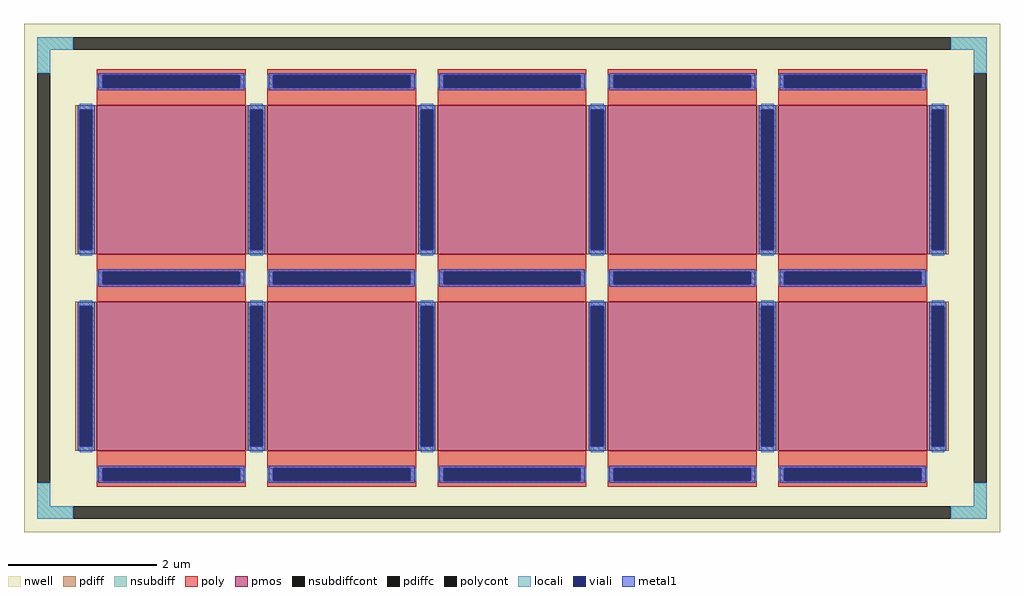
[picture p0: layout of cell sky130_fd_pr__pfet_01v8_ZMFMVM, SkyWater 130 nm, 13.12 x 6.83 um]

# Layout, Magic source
magic
tech sky130A
magscale 1 2
<< nwell >>
rect -1312 -683 1312 683
<< pmos >>
rect -1116 64 -716 464
rect -658 64 -258 464
rect -200 64 200 464
rect 258 64 658 464
rect 716 64 1116 464
rect -1116 -464 -716 -64
rect -658 -464 -258 -64
rect -200 -464 200 -64
rect 258 -464 658 -64
rect 716 -464 1116 -64
<< pdiff >>
rect -1174 452 -1116 464
rect -1174 76 -1162 452
rect -1128 76 -1116 452
rect -1174 64 -1116 76
rect -716 452 -658 464
rect -716 76 -704 452
rect -670 76 -658 452
rect -716 64 -658 76
rect -258 452 -200 464
rect -258 76 -246 452
rect -212 76 -200 452
rect -258 64 -200 76
rect 200 452 258 464
rect 200 76 212 452
rect 246 76 258 452
rect 200 64 258 76
rect 658 452 716 464
rect 658 76 670 452
rect 704 76 716 452
rect 658 64 716 76
rect 1116 452 1174 464
rect 1116 76 1128 452
rect 1162 76 1174 452
rect 1116 64 1174 76
rect -1174 -76 -1116 -64
rect -1174 -452 -1162 -76
rect -1128 -452 -1116 -76
rect -1174 -464 -1116 -452
rect -716 -76 -658 -64
rect -716 -452 -704 -76
rect -670 -452 -658 -76
rect -716 -464 -658 -452
rect -258 -76 -200 -64
rect -258 -452 -246 -76
rect -212 -452 -200 -76
rect -258 -464 -200 -452
rect 200 -76 258 -64
rect 200 -452 212 -76
rect 246 -452 258 -76
rect 200 -464 258 -452
rect 658 -76 716 -64
rect 658 -452 670 -76
rect 704 -452 716 -76
rect 658 -464 716 -452
rect 1116 -76 1174 -64
rect 1116 -452 1128 -76
rect 1162 -452 1174 -76
rect 1116 -464 1174 -452
<< pdiffc >>
rect -1162 76 -1128 452
rect -704 76 -670 452
rect -246 76 -212 452
rect 212 76 246 452
rect 670 76 704 452
rect 1128 76 1162 452
rect -1162 -452 -1128 -76
rect -704 -452 -670 -76
rect -246 -452 -212 -76
rect 212 -452 246 -76
rect 670 -452 704 -76
rect 1128 -452 1162 -76
<< nsubdiff >>
rect -1276 613 -1180 647
rect 1180 613 1276 647
rect -1276 551 -1242 613
rect 1242 551 1276 613
rect -1276 -613 -1242 -551
rect 1242 -613 1276 -551
rect -1276 -647 -1180 -613
rect 1180 -647 1276 -613
<< nsubdiffcont >>
rect -1180 613 1180 647
rect -1276 -551 -1242 551
rect 1242 -551 1276 551
rect -1180 -647 1180 -613
<< poly >>
rect -1116 545 -716 561
rect -1116 511 -1100 545
rect -732 511 -716 545
rect -1116 464 -716 511
rect -658 545 -258 561
rect -658 511 -642 545
rect -274 511 -258 545
rect -658 464 -258 511
rect -200 545 200 561
rect -200 511 -184 545
rect 184 511 200 545
rect -200 464 200 511
rect 258 545 658 561
rect 258 511 274 545
rect 642 511 658 545
rect 258 464 658 511
rect 716 545 1116 561
rect 716 511 732 545
rect 1100 511 1116 545
rect 716 464 1116 511
rect -1116 17 -716 64
rect -1116 -17 -1100 17
rect -732 -17 -716 17
rect -1116 -64 -716 -17
rect -658 17 -258 64
rect -658 -17 -642 17
rect -274 -17 -258 17
rect -658 -64 -258 -17
rect -200 17 200 64
rect -200 -17 -184 17
rect 184 -17 200 17
rect -200 -64 200 -17
rect 258 17 658 64
rect 258 -17 274 17
rect 642 -17 658 17
rect 258 -64 658 -17
rect 716 17 1116 64
rect 716 -17 732 17
rect 1100 -17 1116 17
rect 716 -64 1116 -17
rect -1116 -511 -716 -464
rect -1116 -545 -1100 -511
rect -732 -545 -716 -511
rect -1116 -561 -716 -545
rect -658 -511 -258 -464
rect -658 -545 -642 -511
rect -274 -545 -258 -511
rect -658 -561 -258 -545
rect -200 -511 200 -464
rect -200 -545 -184 -511
rect 184 -545 200 -511
rect -200 -561 200 -545
rect 258 -511 658 -464
rect 258 -545 274 -511
rect 642 -545 658 -511
rect 258 -561 658 -545
rect 716 -511 1116 -464
rect 716 -545 732 -511
rect 1100 -545 1116 -511
rect 716 -561 1116 -545
<< polycont >>
rect -1100 511 -732 545
rect -642 511 -274 545
rect -184 511 184 545
rect 274 511 642 545
rect 732 511 1100 545
rect -1100 -17 -732 17
rect -642 -17 -274 17
rect -184 -17 184 17
rect 274 -17 642 17
rect 732 -17 1100 17
rect -1100 -545 -732 -511
rect -642 -545 -274 -511
rect -184 -545 184 -511
rect 274 -545 642 -511
rect 732 -545 1100 -511
<< locali >>
rect -1276 613 -1180 647
rect 1180 613 1276 647
rect -1276 551 -1242 613
rect 1242 551 1276 613
rect -1116 511 -1100 545
rect -732 511 -716 545
rect -658 511 -642 545
rect -274 511 -258 545
rect -200 511 -184 545
rect 184 511 200 545
rect 258 511 274 545
rect 642 511 658 545
rect 716 511 732 545
rect 1100 511 1116 545
rect -1162 452 -1128 468
rect -1162 60 -1128 76
rect -704 452 -670 468
rect -704 60 -670 76
rect -246 452 -212 468
rect -246 60 -212 76
rect 212 452 246 468
rect 212 60 246 76
rect 670 452 704 468
rect 670 60 704 76
rect 1128 452 1162 468
rect 1128 60 1162 76
rect -1116 -17 -1100 17
rect -732 -17 -716 17
rect -658 -17 -642 17
rect -274 -17 -258 17
rect -200 -17 -184 17
rect 184 -17 200 17
rect 258 -17 274 17
rect 642 -17 658 17
rect 716 -17 732 17
rect 1100 -17 1116 17
rect -1162 -76 -1128 -60
rect -1162 -468 -1128 -452
rect -704 -76 -670 -60
rect -704 -468 -670 -452
rect -246 -76 -212 -60
rect -246 -468 -212 -452
rect 212 -76 246 -60
rect 212 -468 246 -452
rect 670 -76 704 -60
rect 670 -468 704 -452
rect 1128 -76 1162 -60
rect 1128 -468 1162 -452
rect -1116 -545 -1100 -511
rect -732 -545 -716 -511
rect -658 -545 -642 -511
rect -274 -545 -258 -511
rect -200 -545 -184 -511
rect 184 -545 200 -511
rect 258 -545 274 -511
rect 642 -545 658 -511
rect 716 -545 732 -511
rect 1100 -545 1116 -511
rect -1276 -613 -1242 -551
rect 1242 -613 1276 -551
rect -1276 -647 -1180 -613
rect 1180 -647 1276 -613
<< viali >>
rect -1100 511 -732 545
rect -642 511 -274 545
rect -184 511 184 545
rect 274 511 642 545
rect 732 511 1100 545
rect -1162 76 -1128 452
rect -704 76 -670 452
rect -246 76 -212 452
rect 212 76 246 452
rect 670 76 704 452
rect 1128 76 1162 452
rect -1100 -17 -732 17
rect -642 -17 -274 17
rect -184 -17 184 17
rect 274 -17 642 17
rect 732 -17 1100 17
rect -1162 -452 -1128 -76
rect -704 -452 -670 -76
rect -246 -452 -212 -76
rect 212 -452 246 -76
rect 670 -452 704 -76
rect 1128 -452 1162 -76
rect -1100 -545 -732 -511
rect -642 -545 -274 -511
rect -184 -545 184 -511
rect 274 -545 642 -511
rect 732 -545 1100 -511
<< metal1 >>
rect -1112 545 -720 551
rect -1112 511 -1100 545
rect -732 511 -720 545
rect -1112 505 -720 511
rect -654 545 -262 551
rect -654 511 -642 545
rect -274 511 -262 545
rect -654 505 -262 511
rect -196 545 196 551
rect -196 511 -184 545
rect 184 511 196 545
rect -196 505 196 511
rect 262 545 654 551
rect 262 511 274 545
rect 642 511 654 545
rect 262 505 654 511
rect 720 545 1112 551
rect 720 511 732 545
rect 1100 511 1112 545
rect 720 505 1112 511
rect -1168 452 -1122 464
rect -1168 76 -1162 452
rect -1128 76 -1122 452
rect -1168 64 -1122 76
rect -710 452 -664 464
rect -710 76 -704 452
rect -670 76 -664 452
rect -710 64 -664 76
rect -252 452 -206 464
rect -252 76 -246 452
rect -212 76 -206 452
rect -252 64 -206 76
rect 206 452 252 464
rect 206 76 212 452
rect 246 76 252 452
rect 206 64 252 76
rect 664 452 710 464
rect 664 76 670 452
rect 704 76 710 452
rect 664 64 710 76
rect 1122 452 1168 464
rect 1122 76 1128 452
rect 1162 76 1168 452
rect 1122 64 1168 76
rect -1112 17 -720 23
rect -1112 -17 -1100 17
rect -732 -17 -720 17
rect -1112 -23 -720 -17
rect -654 17 -262 23
rect -654 -17 -642 17
rect -274 -17 -262 17
rect -654 -23 -262 -17
rect -196 17 196 23
rect -196 -17 -184 17
rect 184 -17 196 17
rect -196 -23 196 -17
rect 262 17 654 23
rect 262 -17 274 17
rect 642 -17 654 17
rect 262 -23 654 -17
rect 720 17 1112 23
rect 720 -17 732 17
rect 1100 -17 1112 17
rect 720 -23 1112 -17
rect -1168 -76 -1122 -64
rect -1168 -452 -1162 -76
rect -1128 -452 -1122 -76
rect -1168 -464 -1122 -452
rect -710 -76 -664 -64
rect -710 -452 -704 -76
rect -670 -452 -664 -76
rect -710 -464 -664 -452
rect -252 -76 -206 -64
rect -252 -452 -246 -76
rect -212 -452 -206 -76
rect -252 -464 -206 -452
rect 206 -76 252 -64
rect 206 -452 212 -76
rect 246 -452 252 -76
rect 206 -464 252 -452
rect 664 -76 710 -64
rect 664 -452 670 -76
rect 704 -452 710 -76
rect 664 -464 710 -452
rect 1122 -76 1168 -64
rect 1122 -452 1128 -76
rect 1162 -452 1168 -76
rect 1122 -464 1168 -452
rect -1112 -511 -720 -505
rect -1112 -545 -1100 -511
rect -732 -545 -720 -511
rect -1112 -551 -720 -545
rect -654 -511 -262 -505
rect -654 -545 -642 -511
rect -274 -545 -262 -511
rect -654 -551 -262 -545
rect -196 -511 196 -505
rect -196 -545 -184 -511
rect 184 -545 196 -511
rect -196 -551 196 -545
rect 262 -511 654 -505
rect 262 -545 274 -511
rect 642 -545 654 -511
rect 262 -551 654 -545
rect 720 -511 1112 -505
rect 720 -545 732 -511
rect 1100 -545 1112 -511
rect 720 -551 1112 -545
<< properties >>
string FIXED_BBOX -1259 -630 1259 630
string gencell sky130_fd_pr__pfet_01v8
string library sky130
string parameters w 2 l 2.0 m 2 nf 5 diffcov 100 polycov 100 guard 1 glc 1 grc 1 gtc 1 gbc 1 tbcov 100 rlcov 100 topc 1 botc 1 poverlap 1 doverlap 1 lmin 0.15 wmin 0.42 compatible {sky130_fd_pr__pfet_01v8  sky130_fd_pr__pfet_01v8_lvt sky130_fd_pr__pfet_01v8_hvt  sky130_fd_pr__pfet_g5v0d10v5} full_metal 1 viasrc 100 viadrn 100 viagate 100 viagb 0 viagr 0 viagl 0 viagt 0
<< end >>
